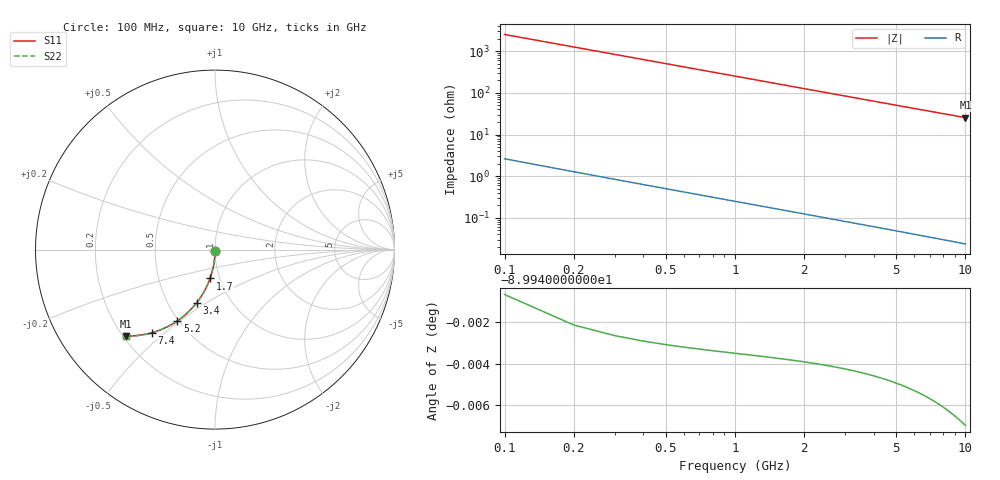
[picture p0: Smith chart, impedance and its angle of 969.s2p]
# Hz S RI R 50.00
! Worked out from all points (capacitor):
!   100 points, 100 MHz to 10 GHz, reference 50 ohm
!   read as one part in shunt: C = 630 fF near 100 MHz
!   lowest |Z| = 25.5 ohm at 10 GHz (marker M1)
!   S11 on the Smith chart (normalised r, x): 100 MHz: 1.00, -0.02; 1.7 GHz: 0.90, -0.30; 3.4 GHz: 0.69, -0.45; 5.2 GHz: 0.49, -0.49; 7.4 GHz: 0.32, -0.45; 10 GHz: 0.21, -0.39
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1e8  -4.4e-05 -0.00971  0.9998 -0.0101  0.9998 -0.0101  -4.4e-05 -0.00971
2e8  -0.000347 -0.0194  0.9995 -0.0201  0.9995 -0.0201  -0.000347 -0.0194
3e8  -0.000844 -0.0291  0.999 -0.0302  0.999 -0.0302  -0.000844 -0.0291
4e8  -0.00154 -0.0388  0.9983 -0.0402  0.9983 -0.0402  -0.00154 -0.0388
5e8  -0.00242 -0.0484  0.9974 -0.0502  0.9974 -0.0502  -0.00242 -0.0484
6e8  -0.0035 -0.058  0.9964 -0.0602  0.9964 -0.0602  -0.0035 -0.058
8e8  -0.00623 -0.0772  0.9936 -0.0801  0.9936 -0.0801  -0.00623 -0.0772
1.1e9  -0.0117 -0.1055  0.9881 -0.1095  0.9881 -0.1095  -0.0117 -0.1055
1.4e9  -0.0189 -0.1333  0.981 -0.1384  0.981 -0.1384  -0.0189 -0.1333
1.7e9  -0.0276 -0.1604  0.9723 -0.1666  0.9723 -0.1666  -0.0276 -0.1604
1.8e9  -0.0308 -0.1693  0.969 -0.1759  0.969 -0.1759  -0.0308 -0.1693
2.1e9  -0.0415 -0.1953  0.9583 -0.203  0.9583 -0.203  -0.0415 -0.1953
2.5e9  -0.0578 -0.2285  0.942 -0.2376  0.942 -0.2376  -0.0578 -0.2285
2.9e9  -0.0763 -0.2598  0.9235 -0.2704  0.9235 -0.2704  -0.0763 -0.2598
3.4e9  -0.102 -0.296  0.8978 -0.3084  0.8978 -0.3084  -0.102 -0.296
4.2e9  -0.1477 -0.3468  0.852 -0.3622  0.852 -0.3622  -0.1477 -0.3468
5.1e9  -0.2037 -0.393  0.796 -0.4117  0.796 -0.4117  -0.2037 -0.393
5.2e9  -0.2101 -0.3975  0.7896 -0.4165  0.7896 -0.4165  -0.2101 -0.3975
6.7e9  -0.3068 -0.4484  0.6928 -0.4731  0.6928 -0.4731  -0.3068 -0.4484
7.4e9  -0.3508 -0.4631  0.6486 -0.4905  0.6486 -0.4905  -0.3508 -0.4631
8.4e9  -0.411 -0.476  0.5884 -0.5071  0.5884 -0.5071  -0.411 -0.476
1e10  -0.498 -0.4809  0.5011 -0.5181  0.5011 -0.5181  -0.498 -0.4809
